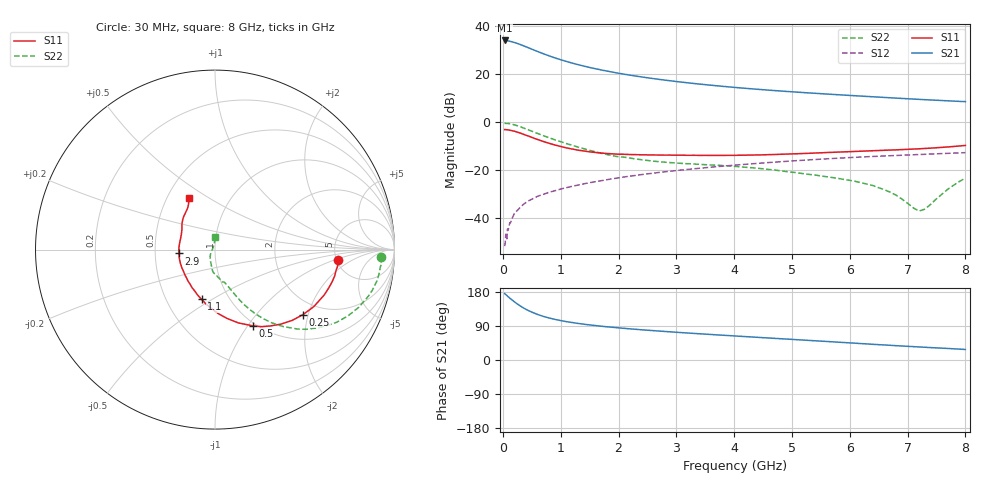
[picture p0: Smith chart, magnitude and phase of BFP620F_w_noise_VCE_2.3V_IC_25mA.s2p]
! Infineon Technologies  Discrete & RF Semiconductors
! BFP620F
! VCE =  2.3 V,  IC =  25 mA
! Common Emitter S-Parameters:  Dec 2014
# GHz  S  MA  R  50
!  f  S11  S21  S12  S22
! GHz  MAG  ANG  MAG  ANG  MAG  ANG  MAG  ANG
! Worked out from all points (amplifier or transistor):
!   95 points, 30 MHz to 8 GHz, reference 50 ohm
!   highest |S21| = 33.8 dB at 30 MHz (marker M1)
!   |S21| within 3 dB of that: start of sweep to 437.7 MHz
!   unconditionally stable (mu >= 1): 2.55 GHz to end of sweep
!   at 300 MHz: K = 0.40, MSG = 33.9 dB, |S12| = -35.6 dB
!   at 3.3 GHz: K = 1.02, MAG = 16.8 dB, |S12| = -19.6 dB
!   at 8 GHz: K = 1.06, MAG = 9.1 dB, |S12| = -12.8 dB
!   lowest NFmin = 1.00 dB at 450 MHz
!   S11 on the Smith chart (normalised r, x): 30 MHz: 5.19, -1.09; 250 MHz: 1.61, -1.85; 500 MHz: 0.97, -1.06; 1.1 GHz: 0.74, -0.45; 2.9 GHz: 0.66, -0.03; 8 GHz: 0.64, +0.41
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0.03  0.689 -4.6  49.06 175.4  0.0026 43.6  0.9253 -2.5
0.08  0.6827 -12.5  48.31 168.5  0.0059 66.7  0.9233 -8.7
0.13  0.6653 -19.9  46.98 161.9  0.008 66.6  0.9059 -14.4
0.2  0.6359 -29.9  44.45 153.5  0.0125 71.5  0.8636 -21.8
0.25  0.6097 -36.4  42.51 147.8  0.0144 70.4  0.8279 -26.5
0.35  0.5542 -48.5  38.27 138.0  0.019 67.6  0.7496 -34.6
0.4  0.5258 -54.0  36.27 133.7  0.021 66.9  0.7104 -38.0
0.5  0.4742 -63.6  32.35 126.3  0.0246 65.1  0.6382 -43.9
0.6  0.4287 -72.3  28.92 120.2  0.0283 64.3  0.5722 -48.5
0.7  0.3898 -80.0  26 115.1  0.0311 63.8  0.5153 -52.3
0.8  0.3574 -87.0  23.46 110.8  0.0343 63.4  0.4654 -55.3
0.9  0.3293 -93.4  21.33 107.2  0.0369 63.4  0.4227 -57.8
1.1  0.2867 -105.2  17.93 101.2  0.0428 63.2  0.3524 -61.8
1.4  0.2479 -121.0  14.39 94.5  0.0514 63.1  0.2761 -66.0
2  0.2121 -147.2  10.23 84.9  0.0684 61.9  0.1875 -74.5
2.7  0.2038 -169.1  7.628 76.4  0.0886 59.3  0.1483 -85.3
2.9  0.2029 -174.0  7.108 74.3  0.0941 58.5  0.1417 -87.9
4.1  0.2018 161.8  5.075 62.6  0.1281 52.6  0.1163 -97.1
5.4  0.2244 145.2  3.91 50.7  0.1645 44.9  0.0783 -107.2
6.7  0.2585 130.9  3.157 38.8  0.1972 36.2  0.0343 -135.3
7.2  0.2747 124.2  2.925 34.4  0.2087 33.1  0.014 164.6
8  0.3225 117.0  2.623 27.8  0.2283 27.8  0.0675 88.3
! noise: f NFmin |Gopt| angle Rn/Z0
0.45  1  0.01  10  0.2
0.9  1.04  0.01  11  0.16
1.5  1.06  0.02  -150  0.16
1.8  1.07  0.03  -150  0.16
1.9  1.07  0.04  -150  0.15
2.4  1.1  0.06  -147  0.16
3.5  1.17  0.1  -145  0.16
5.5  1.32  0.18  236  0.12
6  1.36  0.18  258  0.15
